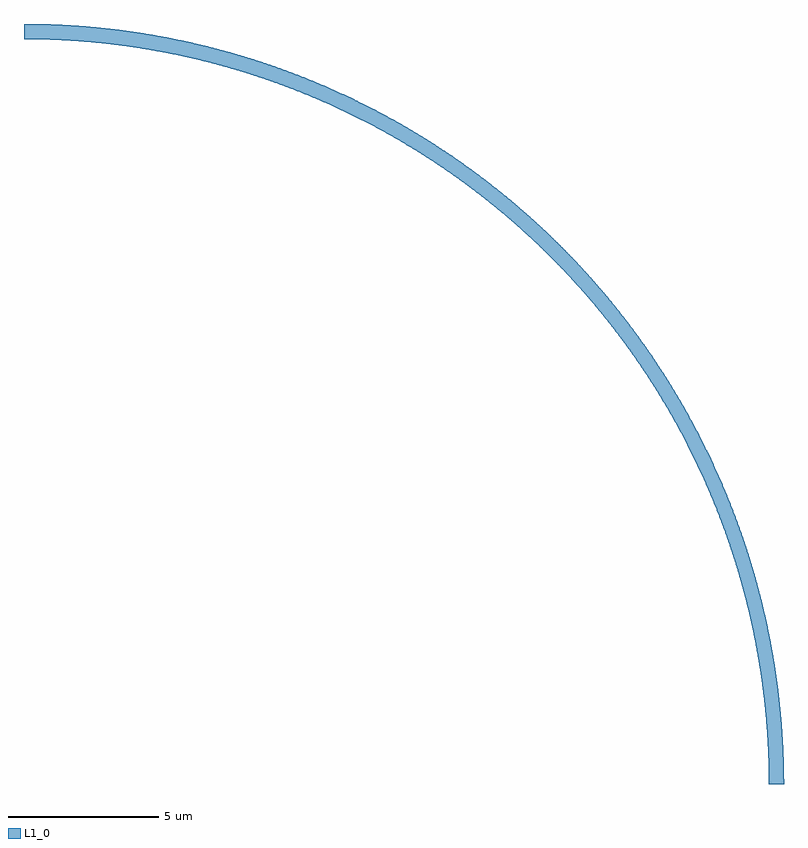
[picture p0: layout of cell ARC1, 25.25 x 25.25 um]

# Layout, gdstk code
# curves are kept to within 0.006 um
import gdstk
lib = gdstk.Library(unit=1e-6, precision=1e-09)
def P(c, l, *ps):  # polygons
    for p in ps: c.add(gdstk.Polygon(p, *l))
L1_0 = (1, 0)

arc1 = lib.new_cell('ARC1')
P(arc1, L1_0, [(25.25,0),(25.236,0.852),(25.193,1.703),(25.109,2.668),(24.999,3.552),(24.493,3.556),(24.591,2.803),(24.686,1.783),(24.735,0.873),(24.75,0)],
  [(24.993,3.59),(24.872,4.355),(24.703,5.23),(24.503,6.098),(24.249,7.039),(23.728,7.039),(23.99,6.087),(24.19,5.237),(24.346,4.456),(24.493,3.556),(24.998,3.556)],
  [(24.24,7.07),(23.988,7.884),(23.695,8.725),(23.343,9.627),(23.02,10.376),(22.47,10.376),(22.793,9.647),(23.146,8.766),(23.441,7.944),(23.728,7.039),(24.249,7.039)],
  [(23.005,10.409),(22.675,11.11),(22.214,12.005),(21.757,12.815),(21.333,13.509),(20.738,13.509),(21.19,12.789),(21.628,12.034),(22.039,11.263),(22.47,10.376),(23.02,10.376)],
  [(21.312,13.541),(20.777,14.349),(20.258,15.073),(19.714,15.778),(19.228,16.366),(18.566,16.366),(19.108,15.731),(19.766,14.896),(20.301,14.158),(20.738,13.509),(21.333,13.509)],
  [(19.22,16.375),(18.631,17.043),(17.964,17.745),(17.355,18.341),(16.755,18.89),(15.992,18.89),(16.621,18.339),(17.258,17.741),(17.899,17.094),(18.566,16.366),(19.228,16.366)],
  [(16.726,18.916),(16.108,19.445),(15.351,20.048),(14.571,20.622),(13.973,21.031),(13.048,21.031),(13.782,20.558),(14.591,19.992),(15.287,19.465),(15.992,18.89),(16.755,18.89)],
  [(13.964,21.038),(13.246,21.497),(12.446,21.97),(11.629,22.413),(10.989,22.733),(9.786,22.733),(10.582,22.374),(11.365,21.987),(12.199,21.535),(13.048,21.031),(13.973,21.031)],
  [(10.971,22.742),(10.126,23.131),(9.448,23.416),(8.616,23.735),(7.935,23.971),(6.161,23.971),(7.003,23.739),(7.944,23.441),(8.837,23.119),(9.786,22.733),(10.989,22.733)],
  [(7.92,23.976),(7.33,24.163),(6.697,24.346),(5.947,24.54),(5.321,24.683),(1.821,24.683),(2.388,24.635),(2.917,24.578),(3.406,24.515),(4.007,24.424),(5.015,24.237),(5.645,24.098),(6.161,23.971)],
  [(5.305,24.686),(4.774,24.795),(3.935,24.942),(3.321,25.031),(2.706,25.105),(2.051,25.167),(1.394,25.212),(0.852,25.236),(0,25.25),(0,24.75),(0.873,24.735),(1.821,24.683)])

lib.write_gds('ARC1.gds')
